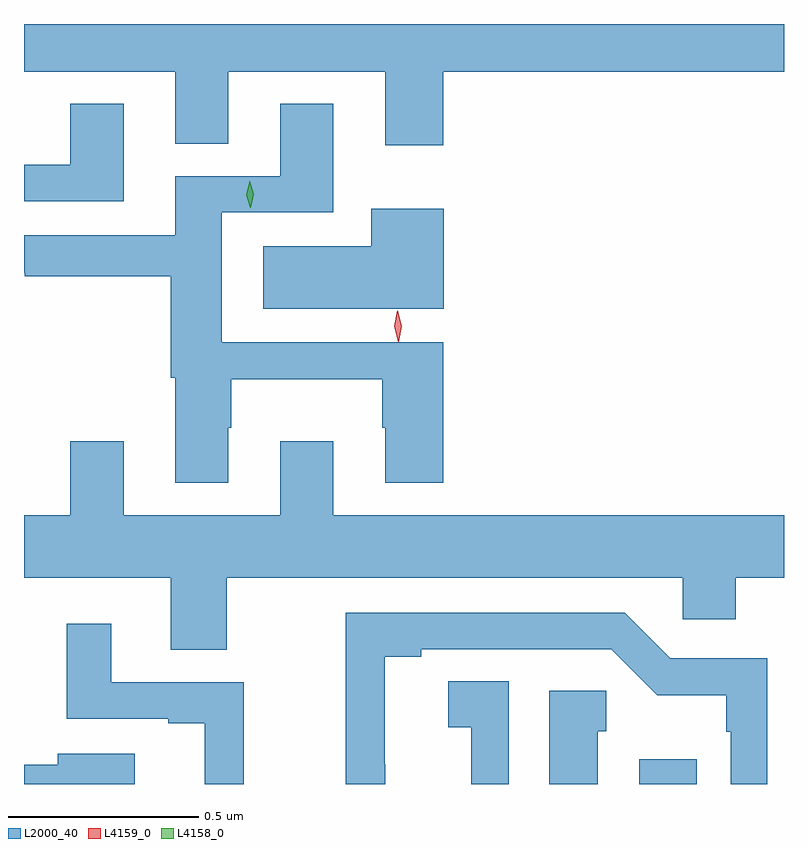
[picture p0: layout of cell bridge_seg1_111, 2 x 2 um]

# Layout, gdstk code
import gdstk
lib = gdstk.Library(unit=1e-6, precision=1e-09)
def R(c, l, rs):  # rectangles x0, y0, x1, y1
    for r in rs: c.add(gdstk.rectangle(r[:2], r[2:], *l))
def P(c, l, *ps):  # polygons
    for p in ps: c.add(gdstk.Polygon(p, *l))
L2000_40 = (2000, 40)
L4158_0 = (4158, 0)
L4159_0 = (4159, 0)

bridge_seg1_111 = lib.new_cell('bridge_seg1_111')
R(bridge_seg1_111, L2000_40, [(134.474,508.565,134.626,508.63)])
P(bridge_seg1_111, L2000_40, [(133.958,510.44),(134.855,510.44),(134.855,510.565),(132.855,510.565),(132.855,510.44),(133.253,510.44),(133.253,510.25),(133.393,510.25),(133.393,510.44),(133.805,510.44),(133.805,510.246),(133.958,510.246)],
  [(133.117,510.355),(132.977,510.355),(132.977,510.195),(132.855,510.195),(132.855,510.099),(133.117,510.099)],
  [(133.393,509.502),(133.401,509.502),(133.401,509.63),(133.798,509.63),(133.798,509.502),(133.805,509.502),(133.805,509.358),(133.958,509.358),(133.958,509.727),(133.375,509.727),(133.375,510.069),(133.669,510.069),(133.669,510.355),(133.529,510.355),(133.529,510.165),(133.253,510.165),(133.253,510.009),(132.855,510.009),(132.855,509.911),(132.857,509.911),(132.857,509.901),(133.241,509.901),(133.241,509.634),(133.253,509.634),(133.253,509.358),(133.393,509.358)],
  [(133.96,510.079),(133.769,510.079),(133.769,509.98),(133.485,509.98),(133.485,509.816),(133.96,509.816)],
  [(133.389,509.108),(134.589,509.108),(134.589,508.998),(134.728,508.998),(134.728,509.108),(134.855,509.108),(134.855,509.272),(133.669,509.272),(133.669,509.467),(133.529,509.467),(133.529,509.272),(133.117,509.272),(133.117,509.467),(132.977,509.467),(132.977,509.272),(132.855,509.272),(132.855,509.108),(133.241,509.108),(133.241,508.918),(133.389,508.918)],
  [(133.806,508.617),(133.804,508.617),(133.804,508.9),(133.9,508.9),(133.9,508.92),(134.4,508.92),(134.521,508.799),(134.703,508.799),(134.703,508.703),(134.715,508.703),(134.715,508.565),(134.811,508.565),(134.811,508.896),(134.556,508.896),(134.436,509.016),(133.702,509.016),(133.702,508.565),(133.806,508.565)],
  [(133.433,508.833),(133.084,508.833),(133.084,508.987),(132.967,508.987),(132.967,508.737),(133.235,508.737),(133.235,508.725),(133.331,508.725),(133.331,508.565),(133.433,508.565)],
  [(134.13,508.835),(133.971,508.835),(133.971,508.715),(134.032,508.715),(134.032,508.565),(134.13,508.565)],
  [(134.365,508.704),(134.387,508.704),(134.387,508.81),(134.237,508.81),(134.237,508.565),(134.365,508.565)],
  [(133.147,508.645),(132.944,508.645),(132.944,508.616),(132.855,508.616),(132.855,508.565),(133.147,508.565)])
P(bridge_seg1_111, L4158_0, [(133.451,510.081),(133.44,510.116),(133.449,510.152),(133.449,510.152),(133.449,510.152),(133.46,510.117),(133.452,510.081),(133.452,510.081)])
P(bridge_seg1_111, L4159_0, [(133.84,509.728),(133.84,509.729),(133.829,509.769),(133.837,509.811),(133.837,509.811),(133.838,509.811),(133.849,509.77),(133.841,509.729)])

lib.write_gds('bridge_seg1_111.gds')
